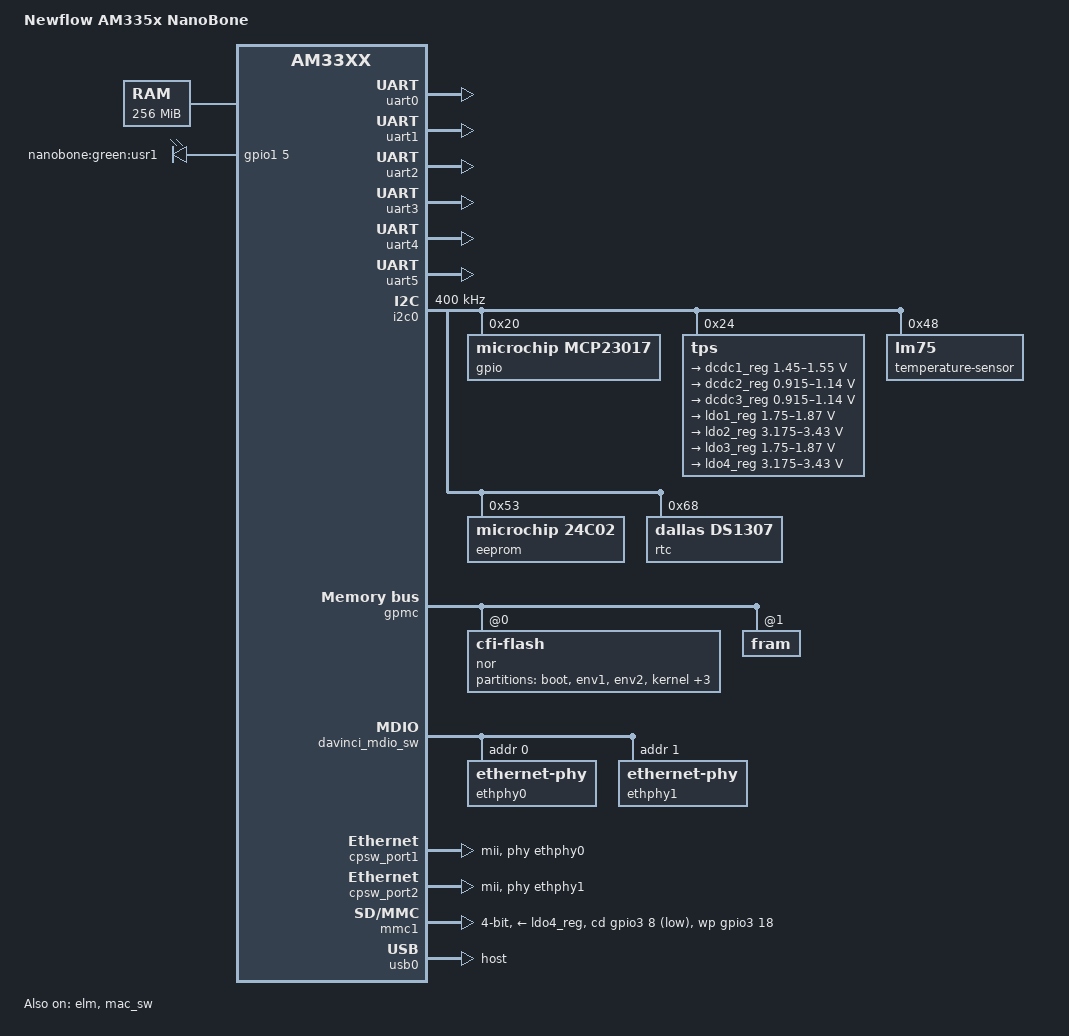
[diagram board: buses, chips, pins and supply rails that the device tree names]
// SPDX-License-Identifier: GPL-2.0-only
/*
 * Copyright (C) 2013 Newflow Ltd - https://www.newflow.co.uk/
 */
/dts-v1/;

#include "am33xx.dtsi"

/ {
	model = "Newflow AM335x NanoBone";
	compatible = "ti,am33xx";

	cpus {
		cpu@0 {
			cpu0-supply = <&dcdc2_reg>;
		};
	};

	memory@80000000 {
		device_type = "memory";
		reg = <0x80000000 0x10000000>; /* 256 MB */
	};

	leds {
		compatible = "gpio-leds";

		led0 {
			label = "nanobone:green:usr1";
			gpios = <&gpio1 5 0>;
			default-state = "off";
		};
	};
};

&am33xx_pinmux {
	pinctrl-names = "default";
	pinctrl-0 = <&misc_pins>;

	misc_pins: misc-pins {
		pinctrl-single,pins = <
			AM33XX_PADCONF(AM335X_PIN_SPI0_CS0, PIN_OUTPUT, MUX_MODE7)	/* spi0_cs0.gpio0_5 */
		>;
	};

	gpmc_pins: gpmc-pins {
		pinctrl-single,pins = <
			AM33XX_PADCONF(AM335X_PIN_GPMC_AD0, PIN_INPUT_PULLUP, MUX_MODE0)
			AM33XX_PADCONF(AM335X_PIN_GPMC_AD1, PIN_INPUT_PULLUP, MUX_MODE0)
			AM33XX_PADCONF(AM335X_PIN_GPMC_AD2, PIN_INPUT_PULLUP, MUX_MODE0)
			AM33XX_PADCONF(AM335X_PIN_GPMC_AD3, PIN_INPUT_PULLUP, MUX_MODE0)
			AM33XX_PADCONF(AM335X_PIN_GPMC_AD4, PIN_INPUT_PULLUP, MUX_MODE0)
			AM33XX_PADCONF(AM335X_PIN_GPMC_AD5, PIN_INPUT_PULLUP, MUX_MODE0)
			AM33XX_PADCONF(AM335X_PIN_GPMC_AD6, PIN_INPUT_PULLUP, MUX_MODE0)
			AM33XX_PADCONF(AM335X_PIN_GPMC_AD7, PIN_INPUT_PULLUP, MUX_MODE0)
			AM33XX_PADCONF(AM335X_PIN_GPMC_AD8, PIN_INPUT_PULLUP, MUX_MODE0)
			AM33XX_PADCONF(AM335X_PIN_GPMC_AD9, PIN_INPUT_PULLUP, MUX_MODE0)
			AM33XX_PADCONF(AM335X_PIN_GPMC_AD10, PIN_INPUT_PULLUP, MUX_MODE0)
			AM33XX_PADCONF(AM335X_PIN_GPMC_AD11, PIN_INPUT_PULLUP, MUX_MODE0)
			AM33XX_PADCONF(AM335X_PIN_GPMC_AD12, PIN_INPUT_PULLUP, MUX_MODE0)
			AM33XX_PADCONF(AM335X_PIN_GPMC_AD13, PIN_INPUT_PULLUP, MUX_MODE0)
			AM33XX_PADCONF(AM335X_PIN_GPMC_AD14, PIN_INPUT_PULLUP, MUX_MODE0)
			AM33XX_PADCONF(AM335X_PIN_GPMC_AD15, PIN_INPUT_PULLUP, MUX_MODE0)

			AM33XX_PADCONF(AM335X_PIN_GPMC_WAIT0, PIN_INPUT_PULLUP, MUX_MODE0)
			AM33XX_PADCONF(AM335X_PIN_GPMC_CSN0, PIN_OUTPUT, MUX_MODE0)
			AM33XX_PADCONF(AM335X_PIN_GPMC_CSN1, PIN_OUTPUT, MUX_MODE0)
			AM33XX_PADCONF(AM335X_PIN_GPMC_CSN2, PIN_OUTPUT, MUX_MODE0)
			AM33XX_PADCONF(AM335X_PIN_GPMC_CSN3, PIN_OUTPUT, MUX_MODE0)

			AM33XX_PADCONF(AM335X_PIN_GPMC_ADVN_ALE, PIN_OUTPUT, MUX_MODE0)
			AM33XX_PADCONF(AM335X_PIN_GPMC_OEN_REN, PIN_OUTPUT, MUX_MODE0)
			AM33XX_PADCONF(AM335X_PIN_GPMC_WEN, PIN_OUTPUT, MUX_MODE0)
			AM33XX_PADCONF(AM335X_PIN_GPMC_BEN0_CLE, PIN_OUTPUT, MUX_MODE0)

			AM33XX_PADCONF(AM335X_PIN_LCD_DATA1, PIN_OUTPUT, MUX_MODE1)		/* lcd_data1.gpmc_a1 */
			AM33XX_PADCONF(AM335X_PIN_LCD_DATA2, PIN_OUTPUT, MUX_MODE1)		/* lcd_data2.gpmc_a2 */
			AM33XX_PADCONF(AM335X_PIN_LCD_DATA3, PIN_OUTPUT, MUX_MODE1)		/* lcd_data3.gpmc_a3 */
			AM33XX_PADCONF(AM335X_PIN_LCD_DATA4, PIN_OUTPUT, MUX_MODE1)		/* lcd_data4.gpmc_a4 */
			AM33XX_PADCONF(AM335X_PIN_LCD_DATA5, PIN_OUTPUT, MUX_MODE1)		/* lcd_data5.gpmc_a5 */
			AM33XX_PADCONF(AM335X_PIN_LCD_DATA6, PIN_OUTPUT, MUX_MODE1)		/* lcd_data6.gpmc_a6 */
			AM33XX_PADCONF(AM335X_PIN_LCD_DATA7, PIN_OUTPUT, MUX_MODE1)		/* lcd_data7.gpmc_a7 */

			AM33XX_PADCONF(AM335X_PIN_LCD_VSYNC, PIN_OUTPUT, MUX_MODE1)		/* lcd_vsync.gpmc_a8 */
			AM33XX_PADCONF(AM335X_PIN_LCD_HSYNC, PIN_OUTPUT, MUX_MODE1)		/* lcd_hsync.gpmc_a9 */
			AM33XX_PADCONF(AM335X_PIN_LCD_PCLK, PIN_OUTPUT, MUX_MODE1)		/* lcd_pclk.gpmc_a10 */
		>;
	};

	i2c0_pins: i2c0-pins {
		pinctrl-single,pins = <
			AM33XX_PADCONF(AM335X_PIN_I2C0_SDA, PIN_INPUT_PULLDOWN, MUX_MODE0)
			AM33XX_PADCONF(AM335X_PIN_I2C0_SCL, PIN_INPUT_PULLDOWN, MUX_MODE0)
		>;
	};

	uart0_pins: uart0-pins {
		pinctrl-single,pins = <
			AM33XX_PADCONF(AM335X_PIN_UART0_RXD, PIN_INPUT_PULLUP, MUX_MODE0)
			AM33XX_PADCONF(AM335X_PIN_UART0_TXD, PIN_OUTPUT, MUX_MODE0)
		>;
	};

	uart1_pins: uart1-pins {
		pinctrl-single,pins = <
			AM33XX_PADCONF(AM335X_PIN_UART1_CTSN, PIN_OUTPUT, MUX_MODE7)
			AM33XX_PADCONF(AM335X_PIN_UART1_RTSN, PIN_OUTPUT, MUX_MODE7)
			AM33XX_PADCONF(AM335X_PIN_UART1_RXD, PIN_INPUT_PULLUP, MUX_MODE0)
			AM33XX_PADCONF(AM335X_PIN_UART1_TXD, PIN_OUTPUT, MUX_MODE0)
		>;
	};

	uart2_pins: uart2-pins {
		pinctrl-single,pins = <
			AM33XX_PADCONF(AM335X_PIN_LCD_DATA8, PIN_INPUT_PULLUP, MUX_MODE7)	/* lcd_data8.gpio2[14] */
			AM33XX_PADCONF(AM335X_PIN_LCD_DATA9, PIN_OUTPUT, MUX_MODE7)		/* lcd_data9.gpio2[15] */
			AM33XX_PADCONF(AM335X_PIN_SPI0_SCLK, PIN_INPUT, MUX_MODE1)		/* spi0_sclk.uart2_rxd */
			AM33XX_PADCONF(AM335X_PIN_SPI0_D0, PIN_OUTPUT, MUX_MODE1)		/* spi0_d0.uart2_txd */
		>;
	};

	uart3_pins: uart3-pins {
		pinctrl-single,pins = <
			AM33XX_PADCONF(AM335X_PIN_LCD_DATA10, PIN_INPUT_PULLUP, MUX_MODE7)	/* lcd_data10.gpio2[16] */
			AM33XX_PADCONF(AM335X_PIN_LCD_DATA11, PIN_OUTPUT, MUX_MODE7)		/* lcd_data11.gpio2[17] */
			AM33XX_PADCONF(AM335X_PIN_SPI0_CS1, PIN_INPUT, MUX_MODE1)		/* spi0_cs1.uart3_rxd */
			AM33XX_PADCONF(AM335X_PIN_ECAP0_IN_PWM0_OUT, PIN_OUTPUT, MUX_MODE1)		/* ecap0_in_pwm0_out.uart3_txd */
		>;
	};

	uart4_pins: uart4-pins {
		pinctrl-single,pins = <
			AM33XX_PADCONF(AM335X_PIN_LCD_DATA12, PIN_INPUT_PULLUP, MUX_MODE7)	/* lcd_data12.gpio0[8] */
			AM33XX_PADCONF(AM335X_PIN_LCD_DATA13, PIN_OUTPUT, MUX_MODE7)		/* lcd_data13.gpio0[9] */
			AM33XX_PADCONF(AM335X_PIN_UART0_CTSN, PIN_INPUT, MUX_MODE1)		/* uart0_ctsn.uart4_rxd */
			AM33XX_PADCONF(AM335X_PIN_UART0_RTSN, PIN_OUTPUT, MUX_MODE1)		/* uart0_rtsn.uart4_txd */
		>;
	};

	uart5_pins: uart5-pins {
		pinctrl-single,pins = <
			AM33XX_PADCONF(AM335X_PIN_LCD_DATA14, PIN_INPUT, MUX_MODE4)		/* lcd_data14.uart5_rxd */
			AM33XX_PADCONF(AM335X_PIN_RMII1_REF_CLK, PIN_OUTPUT, MUX_MODE3)		/* rmiii1_refclk.uart5_txd */
		>;
	};

	mmc1_pins: mmc1-pins {
		pinctrl-single,pins = <
			AM33XX_PADCONF(AM335X_PIN_MMC0_DAT3, PIN_INPUT_PULLUP, MUX_MODE0)
			AM33XX_PADCONF(AM335X_PIN_MMC0_DAT2, PIN_INPUT_PULLUP, MUX_MODE0)
			AM33XX_PADCONF(AM335X_PIN_MMC0_DAT1, PIN_INPUT_PULLUP, MUX_MODE0)
			AM33XX_PADCONF(AM335X_PIN_MMC0_DAT0, PIN_INPUT_PULLUP, MUX_MODE0)
			AM33XX_PADCONF(AM335X_PIN_MMC0_CLK, PIN_INPUT_PULLUP, MUX_MODE0)	/* mmc0_clk.mmc0_clk */
			AM33XX_PADCONF(AM335X_PIN_MMC0_CMD, PIN_INPUT_PULLUP, MUX_MODE0)	/* mmc0_cmd.mmc0_cmd */
			AM33XX_PADCONF(AM335X_PIN_EMU1, PIN_INPUT_PULLUP, MUX_MODE7)	/* emu1.gpio3[8] */
			AM33XX_PADCONF(AM335X_PIN_MCASP0_ACLKR, PIN_INPUT_PULLUP, MUX_MODE7)	/* mcasp0_aclkr.gpio3[18] */
		>;
	};
};

&uart0 {
	pinctrl-names = "default";
	pinctrl-0 = <&uart0_pins>;
	status = "okay";
};

&uart1 {
	pinctrl-names = "default";
	pinctrl-0 = <&uart1_pins>;
	status = "okay";
	rts-gpio = <&gpio0 13 GPIO_ACTIVE_HIGH>;
	rs485-rts-active-high;
	rs485-rx-during-tx;
	rs485-rts-delay = <1 1>;
	linux,rs485-enabled-at-boot-time;
};

&uart2 {
	pinctrl-names = "default";
	pinctrl-0 = <&uart2_pins>;
	status = "okay";
	rts-gpio = <&gpio2 15 GPIO_ACTIVE_HIGH>;
	rs485-rts-active-high;
	rs485-rts-delay = <1 1>;
	linux,rs485-enabled-at-boot-time;
};

&uart3 {
	pinctrl-names = "default";
	pinctrl-0 = <&uart3_pins>;
	rts-gpio = <&gpio2 17 GPIO_ACTIVE_HIGH>;
	rs485-rts-active-high;
	rs485-rx-during-tx;
	rs485-rts-delay = <1 1>;
	linux,rs485-enabled-at-boot-time;
	status = "okay";
};

&uart4 {
	pinctrl-names = "default";
	pinctrl-0 = <&uart4_pins>;
	rts-gpio = <&gpio0 9 GPIO_ACTIVE_HIGH>;
	rs485-rts-active-high;
	rs485-rx-during-tx;
	rs485-rts-delay = <1 1>;
	linux,rs485-enabled-at-boot-time;
	status = "okay";
};

&uart5 {
	pinctrl-names = "default";
	pinctrl-0 = <&uart5_pins>;
	status = "okay";
};

&i2c0 {
	status = "okay";
	pinctrl-names = "default";
	clock-frequency = <400000>;
	pinctrl-names = "default";
	pinctrl-0 = <&i2c0_pins>;

	gpio@20 {
		compatible = "microchip,mcp23017";
		gpio-controller;
		#gpio-cells = <2>;
		reg = <0x20>;
	};

	tps: tps@24 {
		reg = <0x24>;
	};

	temperature-sensor@48 {
		compatible = "lm75";
		reg = <0x48>;
	};

	eeprom@53 {
		compatible = "microchip,24c02", "atmel,24c02";
		reg = <0x53>;
		pagesize = <8>;
	};

	rtc@68 {
		compatible = "dallas,ds1307";
		reg = <0x68>;
	};
};

&elm {
	status = "okay";
};

&gpmc {
	compatible = "ti,am3352-gpmc";
	status = "okay";
	gpmc,num-waitpins = <2>;
	pinctrl-names = "default";
	pinctrl-0 = <&gpmc_pins>;

	#address-cells = <2>;
	#size-cells = <1>;
	ranges = <0 0 0x08000000 0x08000000>,	/* CS0: NOR 128M */
		 <1 0 0x1c000000 0x01000000>;	/* CS1: FRAM 16M */

	nor@0,0 {
		reg = <0 0x00000000 0x08000000>;
		compatible = "cfi-flash";
		linux,mtd-name = "spansion,s29gl010p11t";
		bank-width = <2>;

		gpmc,mux-add-data = <2>;

		gpmc,sync-clk-ps = <0>;
		gpmc,cs-on-ns = <0>;
		gpmc,cs-rd-off-ns = <160>;
		gpmc,cs-wr-off-ns = <160>;
		gpmc,adv-on-ns = <10>;
		gpmc,adv-rd-off-ns = <30>;
		gpmc,adv-wr-off-ns = <30>;
		gpmc,oe-on-ns = <40>;
		gpmc,oe-off-ns = <160>;
		gpmc,we-on-ns = <40>;
		gpmc,we-off-ns = <160>;
		gpmc,rd-cycle-ns = <160>;
		gpmc,wr-cycle-ns = <160>;
		gpmc,access-ns = <150>;
		gpmc,page-burst-access-ns = <10>;
		gpmc,cycle2cycle-samecsen;
		gpmc,cycle2cycle-delay-ns = <20>;
		gpmc,wr-data-mux-bus-ns = <70>;
		gpmc,wr-access-ns = <80>;

		#address-cells = <1>;
		#size-cells = <1>;

		/*
		MTD partition table
		===================
		+------------+-->0x00000000-> U-Boot start
		|            |
		|            |-->0x000BFFFF-> U-Boot end
		|            |-->0x000C0000-> ENV1 start
		|            |
		|            |-->0x000DFFFF-> ENV1 end
		|            |-->0x000E0000-> ENV2 start
		|            |
		|            |-->0x000FFFFF-> ENV2 end
		|            |-->0x00100000-> Kernel start
		|            |
		|            |-->0x004FFFFF-> Kernel end
		|            |-->0x00500000-> File system start
		|            |
		|            |-->0x01FFFFFF-> File system end
		|            |-->0x02000000-> User data start
		|            |
		|            |-->0x03FFFFFF-> User data end
		|            |-->0x04000000-> Data storage start
		|            |
		+------------+-->0x08000000-> NOR end (Free end)
		*/
		partition@0 {
			label = "boot";
			reg = <0x00000000 0x000c0000>; /* 768KB */
		};

		partition@1 {
			label = "env1";
			reg = <0x000c0000 0x00020000>; /* 128KB */
		};

		partition@2 {
			label = "env2";
			reg = <0x000e0000 0x00020000>; /* 128KB */
		};

		partition@3 {
			label = "kernel";
			reg = <0x00100000 0x00400000>; /* 4MB */
		};

		partition@4 {
			label = "rootfs";
			reg = <0x00500000 0x01b00000>; /* 27MB */
		};

		partition@5 {
			label = "user";
			reg = <0x02000000 0x02000000>; /* 32MB */
		};

		partition@6 {
			label = "data";
			reg = <0x04000000 0x04000000>; /* 64MB */
		};
	};

	fram@1,0 {
		reg = <1 0x00000000 0x01000000>;
		bank-width = <2>;

		gpmc,mux-add-data = <2>;

		gpmc,sync-clk-ps = <0>;
		gpmc,cs-on-ns = <0>;
		gpmc,cs-rd-off-ns = <160>;
		gpmc,cs-wr-off-ns = <160>;
		gpmc,adv-on-ns = <10>;
		gpmc,adv-rd-off-ns = <20>;
		gpmc,adv-wr-off-ns = <20>;
		gpmc,oe-on-ns = <30>;
		gpmc,oe-off-ns = <150>;
		gpmc,we-on-ns = <30>;
		gpmc,we-off-ns = <150>;
		gpmc,rd-cycle-ns = <160>;
		gpmc,wr-cycle-ns = <160>;
		gpmc,access-ns = <130>;
		gpmc,page-burst-access-ns = <10>;
		gpmc,cycle2cycle-samecsen;
		gpmc,cycle2cycle-diffcsen;
		gpmc,cycle2cycle-delay-ns = <10>;
		gpmc,wr-data-mux-bus-ns = <30>;
		gpmc,wr-access-ns = <0>;
	};
};

&mac_sw {
	status = "okay";
};

&davinci_mdio_sw {
	status = "okay";

	ethphy0: ethernet-phy@0 {
		reg = <0>;
	};

	ethphy1: ethernet-phy@1 {
		reg = <1>;
	};
};

&cpsw_port1 {
	phy-handle = <&ethphy0>;
	phy-mode = "mii";
	ti,dual-emac-pvid = <1>;
};

&cpsw_port2 {
	phy-handle = <&ethphy1>;
	phy-mode = "mii";
	ti,dual-emac-pvid = <2>;
};

&mmc1 {
	status = "okay";
	vmmc-supply = <&ldo4_reg>;
	pinctrl-names = "default";
	pinctrl-0 = <&mmc1_pins>;
	bus-width = <4>;
	cd-debounce-delay-ms = <5>;
	cd-gpios = <&gpio3 8 GPIO_ACTIVE_LOW>;
	wp-gpios = <&gpio3 18 GPIO_ACTIVE_HIGH>;
};

&usb0 {
	dr_mode = "host";
};

#include "../../tps65217.dtsi"

&tps {
	regulators {
		dcdc1_reg: regulator@0 {
			/* +1.5V voltage with ±4% tolerance */
			regulator-min-microvolt = <1450000>;
			regulator-max-microvolt = <1550000>;
			regulator-boot-on;
			regulator-always-on;
		};

		dcdc2_reg: regulator@1 {
			/* VDD_MPU voltage limits 0.95V - 1.1V with ±4% tolerance */
			regulator-name = "vdd_mpu";
			regulator-min-microvolt = <915000>;
			regulator-max-microvolt = <1140000>;
			regulator-boot-on;
			regulator-always-on;
		};

		dcdc3_reg: regulator@2 {
			/* VDD_CORE voltage limits 0.95V - 1.1V with ±4% tolerance */
			regulator-name = "vdd_core";
			regulator-min-microvolt = <915000>;
			regulator-max-microvolt = <1140000>;
			regulator-boot-on;
			regulator-always-on;
		};

		ldo1_reg: regulator@3 {
			/* +1.8V voltage with ±4% tolerance */
			regulator-min-microvolt = <1750000>;
			regulator-max-microvolt = <1870000>;
			regulator-boot-on;
			regulator-always-on;
		};

		ldo2_reg: regulator@4 {
			/* +3.3V voltage with ±4% tolerance */
			regulator-min-microvolt = <3175000>;
			regulator-max-microvolt = <3430000>;
			regulator-boot-on;
			regulator-always-on;
		};

		ldo3_reg: regulator@5 {
			/* +1.8V voltage with ±4% tolerance */
			regulator-min-microvolt = <1750000>;
			regulator-max-microvolt = <1870000>;
			regulator-boot-on;
			regulator-always-on;
		};

		ldo4_reg: regulator@6 {
			/* +3.3V voltage with ±4% tolerance */
			regulator-min-microvolt = <3175000>;
			regulator-max-microvolt = <3430000>;
			regulator-boot-on;
			regulator-always-on;
		};
	};
};
